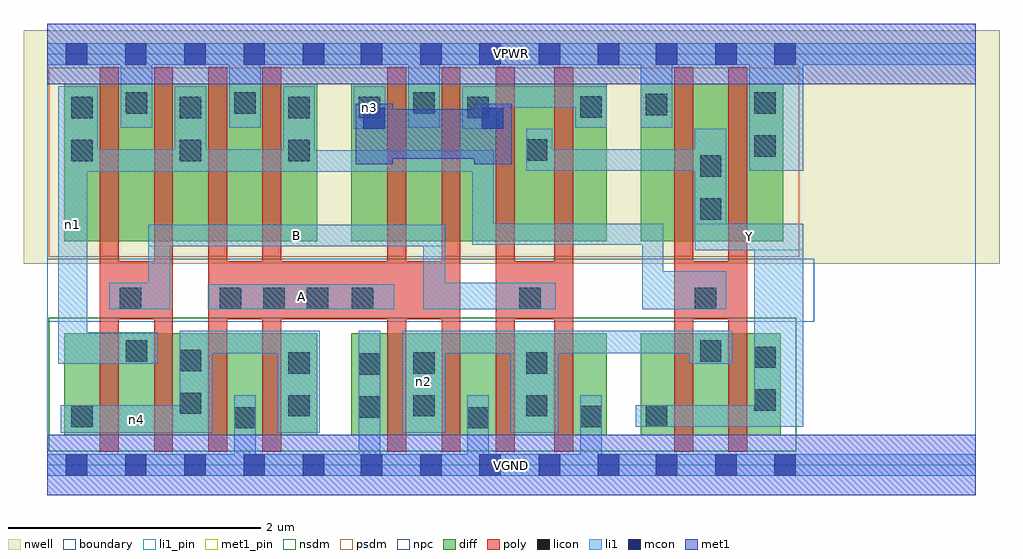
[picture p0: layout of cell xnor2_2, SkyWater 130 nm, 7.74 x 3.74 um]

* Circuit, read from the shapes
.subckt xnor2_2 A B VGND VPWR Y n1 n2 n3 n4
XM1 n1 B n4 VSUBS sky130_fd_pr__nfet_01v8 w=0.81 l=0.15 m=2
XM2 VGND A n4 VSUBS sky130_fd_pr__nfet_01v8 w=0.81 l=0.15 m=2
XM3 n2 A VGND VSUBS sky130_fd_pr__nfet_01v8 w=0.81 l=0.15 m=2
XM4 n2 B VGND VSUBS sky130_fd_pr__nfet_01v8 w=0.81 l=0.15 m=2
XM5 n2 n1 Y VSUBS sky130_fd_pr__nfet_01v8 w=0.81 l=0.15 m=2
XM6 VPWR B n1 n5 sky130_fd_pr__pfet_01v8 w=1.25 l=0.15 m=2
XM7 VPWR A n1 n5 sky130_fd_pr__pfet_01v8 w=1.25 l=0.15 m=2
XM8 VPWR A n3 n5 sky130_fd_pr__pfet_01v8 w=1.25 l=0.15 m=2
XM9 Y B n3 n5 sky130_fd_pr__pfet_01v8 w=1.25 l=0.15 m=2
XM10 Y n1 VPWR n5 sky130_fd_pr__pfet_01v8 w=1.25 l=0.15 m=2
.ends

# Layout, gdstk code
import gdstk
lib = gdstk.Library(unit=1e-6, precision=1e-09)
def R(c, l, rs):  # rectangles x0, y0, x1, y1
    for r in rs: c.add(gdstk.rectangle(r[:2], r[2:], *l))
def A(c, l, x, y, w, h, nx, ny, dx, dy):  # array of equal rectangles
    R(c, l, [(x+i*dx, y+j*dy, x+i*dx+w, y+j*dy+h) for i in range(nx) for j in range(ny)])
nwell = (64, 20)
diff = (65, 20)
poly = (66, 20)
licon = (66, 44)
li1_pin = (67, 16)
li1 = (67, 20)
mcon = (67, 44)
met1_pin = (68, 16)
met1 = (68, 20)
nsdm = (93, 44)
psdm = (94, 20)
npc = (95, 20)
boundary = (235, 4)

xnor2_2 = lib.new_cell('xnor2_2')
R(xnor2_2, nwell, [(-0.19,1.595,7.55,3.45), (0,1.595,7.36,3.45)])
R(xnor2_2, diff, [(0.135,0.235,2.14,1.045), (2.41,0.235,4.435,1.045), (4.705,0.235,5.815,1.045), (0.135,1.775,2.14,3.025), (2.41,1.775,4.435,3.025), (4.705,1.775,5.835,3.025)])
A(xnor2_2, poly, 0.415, 0.105, 0.15, 3.05, 4, 1, 0.43, 0)
A(xnor2_2, poly, 2.695, 0.105, 0.15, 3.05, 3, 1, 0.43, 0)
R(xnor2_2, poly, [(4.02,0.105,4.17,3.155), (4.97,0.105,5.12,3.155), (5.4,0.105,5.55,3.155), (0.415,1.155,0.995,1.615), (1.275,1.155,3.275,1.615), (3.555,1.155,4.17,1.615), (4.97,1.155,5.55,1.615)])
A(xnor2_2, licon, 1.365, 1.235, 0.17, 0.17, 3, 1, 0.345, 0)
A(xnor2_2, licon, 0.19, 2.41, 0.17, 0.17, 3, 2, 0.86, 0.34)
R(xnor2_2, licon, [(1.48,0.29,1.65,0.46), (3.33,0.29,3.5,0.46), (0.19,0.3,0.36,0.47), (4.225,0.3,4.395,0.47), (4.745,0.305,4.915,0.475), (2.47,0.375,2.64,0.545), (1.91,0.385,2.08,0.555), (2.9,0.385,3.07,0.555), (3.795,0.385,3.965,0.555), (1.05,0.405,1.22,0.575), (5.605,0.43,5.775,0.6), (2.47,0.715,2.64,0.885), (1.91,0.725,2.08,0.895), (2.9,0.725,3.07,0.895), (3.795,0.725,3.965,0.895), (1.05,0.745,1.22,0.915), (5.605,0.77,5.775,0.94), (0.62,0.82,0.79,0.99), (5.175,0.82,5.345,0.99), (0.575,1.235,0.745,1.405), (2.415,1.235,2.585,1.405), (3.74,1.235,3.91,1.405), (5.135,1.235,5.305,1.405), (5.175,1.945,5.345,2.115), (5.175,2.285,5.345,2.455), (3.795,2.415,3.965,2.585), (5.605,2.445,5.775,2.615), (2.47,2.75,2.64,2.92), (3.33,2.75,3.5,2.92), (4.225,2.755,4.395,2.925), (4.745,2.775,4.915,2.945), (0.62,2.785,0.79,2.955), (1.48,2.785,1.65,2.955), (2.9,2.785,3.07,2.955), (5.605,2.785,5.775,2.955)])
R(xnor2_2, li1_pin, [(1.28,1.235,2.75,1.435), (5.135,1.705,5.995,1.915), (0.8,1.735,3.155,1.905)])
R(xnor2_2, li1, [(0,-0.085,7.36,0.085), (1.48,-0.085,1.65,0.555), (2.47,-0.085,2.64,1.065), (3.33,-0.085,3.5,0.555), (4.225,-0.085,4.395,0.555), (0.105,0.255,1.305,0.475), (1.05,0.255,1.305,1.065), (1.825,0.255,2.16,1.065), (2.815,0.255,3.155,1.065), (3.675,0.255,4.05,1.065), (4.665,0.305,5.995,0.475), (5.605,0.305,5.995,1.915), (0.085,0.805,0.315,3.005), (0.085,0.805,0.875,1.055), (5.09,0.805,5.43,1.065), (1.05,0.885,2.16,1.065), (2.815,0.885,5.43,1.065), (0.49,1.235,0.975,1.445), (0.8,1.235,0.975,1.905), (1.28,1.235,2.75,1.435), (2.98,1.235,3.155,1.905), (2.98,1.235,4.03,1.445), (4.715,1.235,5.385,1.535), (4.715,1.235,4.885,1.915), (5.135,1.705,5.385,2.665), (5.135,1.705,5.995,1.915), (0.8,1.735,3.155,1.905), (3.37,1.745,4.885,1.915), (3.37,1.745,3.54,2.495), (0.085,2.325,3.54,2.495), (0.085,2.325,0.4,3.005), (0.085,2.325,2.12,2.505), (1.01,2.325,1.26,3.005), (1.87,2.325,2.12,3.005), (3.795,2.335,5.385,2.505), (3.795,2.335,4.005,2.665), (5.565,2.335,5.995,3.345), (2.43,2.665,2.68,3.005), (3.29,2.665,3.62,3.005), (0.58,2.675,0.83,3.345), (1.44,2.675,1.69,3.345), (2.86,2.675,3.11,3.345), (4.185,2.675,4.435,3.005), (4.705,2.675,4.955,3.345), (3.29,2.835,4.435,3.005), (0,3.175,7.36,3.345)])
A(xnor2_2, mcon, 0.145, -0.085, 0.17, 0.17, 5, 2, 0.47, 3.26)
A(xnor2_2, mcon, 2.485, -0.085, 0.17, 0.17, 5, 2, 0.47, 3.26)
A(xnor2_2, mcon, 4.825, -0.085, 0.17, 0.17, 3, 2, 0.47, 3.26)
R(xnor2_2, mcon, [(2.505,2.665,2.675,2.835), (3.445,2.665,3.615,2.835)])
R(xnor2_2, met1_pin, [(0,-0.24,7.36,0.24), (0,3.02,7.36,3.5)])
R(xnor2_2, met1, [(0,-0.24,7.36,0.24), (2.445,2.385,2.74,2.865), (3.385,2.385,3.68,2.865), (2.445,2.43,3.68,2.82), (0,3.02,7.36,3.5)])
R(xnor2_2, nsdm, [(0.01,0.11,5.94,1.17)])
R(xnor2_2, psdm, [(0.01,1.65,5.96,3.15)])
R(xnor2_2, npc, [(0,1.135,6.08,1.635)])
R(xnor2_2, boundary, [(0,0,7.36,3.26)])
xnor2_2.add(gdstk.Label('A', (2.015,1.335), layer=67, texttype=5))
xnor2_2.add(gdstk.Label('B', (1.977,1.82), layer=67, texttype=5))
xnor2_2.add(gdstk.Label('Y', (5.565,1.81), layer=67, texttype=5))
xnor2_2.add(gdstk.Label('n4', (0.705,0.365), layer=67, texttype=5))
xnor2_2.add(gdstk.Label('n2', (2.985,0.66), layer=67, texttype=5))
xnor2_2.add(gdstk.Label('n1', (0.2,1.905), layer=67, texttype=5))
xnor2_2.add(gdstk.Label('n3', (2.555,2.835), layer=67, texttype=5))
xnor2_2.add(gdstk.Label('VPWR', (3.68,3.26), layer=68, texttype=5))
xnor2_2.add(gdstk.Label('VGND', (3.68,0), layer=68, texttype=5))
xnor2_2.add(gdstk.Label('A', (2.015,1.335), layer=67, texttype=16))
xnor2_2.add(gdstk.Label('B', (1.977,1.82), layer=67, texttype=16))
xnor2_2.add(gdstk.Label('Y', (5.565,1.81), layer=67, texttype=16))
xnor2_2.add(gdstk.Label('VPWR', (3.68,3.26), layer=68, texttype=16))
xnor2_2.add(gdstk.Label('VGND', (3.68,0), layer=68, texttype=16))

lib.write_gds('xnor2_2.gds')
